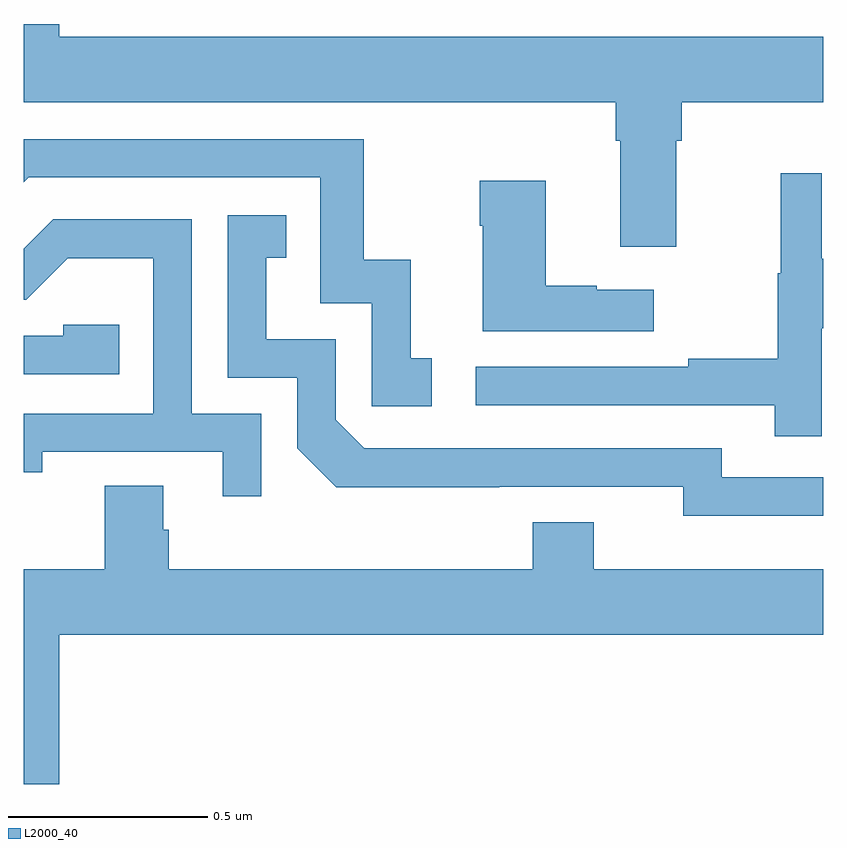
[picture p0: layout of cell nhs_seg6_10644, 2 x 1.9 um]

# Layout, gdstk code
import gdstk
lib = gdstk.Library(unit=1e-6, precision=1e-09)
def P(c, l, *ps):  # polygons
    for p in ps: c.add(gdstk.Polygon(p, *l))
L2000_40 = (2000, 40)

nhs_seg6_10644 = lib.new_cell('nhs_seg6_10644')
P(nhs_seg6_10644, L2000_40, [(250.633,979.208),(250.646,979.208),(250.646,979.304),(251,979.304),(251,979.468),(249.088,979.468),(249.088,979.5),(249,979.5),(249,979.304),(250.481,979.304),(250.481,979.208),(250.493,979.208),(250.493,978.942),(250.633,978.942)],
  [(250.021,978.663),(249.968,978.663),(249.968,978.91),(249.85,978.91),(249.85,979.212),(249,979.212),(249,979.104),(249.012,979.116),(249.741,979.116),(249.741,978.801),(249.87,978.801),(249.87,978.543),(250.021,978.543)],
  [(250.997,978.739),(251,978.739),(251,978.913),(250.997,978.913),(250.997,979.126),(250.894,979.126),(250.894,978.876),(250.887,978.876),(250.887,978.662),(250.663,978.662),(250.663,978.642),(250.131,978.642),(250.131,978.546),(250.879,978.546),(250.879,978.468),(250.997,978.468)],
  [(250.576,978.835),(250.433,978.835),(250.433,978.845),(250.306,978.845),(250.306,979.108),(250.141,979.108),(250.141,978.995),(250.148,978.995),(250.148,978.731),(250.576,978.731)],
  [(251,978.366),(250.746,978.366),(250.746,978.438),(249.852,978.438),(249.78,978.51),(249.78,978.711),(249.607,978.711),(249.607,978.915),(249.656,978.915),(249.656,979.021),(249.51,979.021),(249.51,978.615),(249.684,978.615),(249.684,978.438),(249.782,978.341),(250.19,978.341),(250.19,978.342),(250.65,978.342),(250.65,978.269),(251,978.269)],
  [(249.594,978.525),(249.42,978.525),(249.42,979.011),(249.074,979.011),(249,978.937),(249,978.81),(249.006,978.81),(249.11,978.914),(249.324,978.914),(249.324,978.525),(249,978.525),(249,978.378),(249.046,978.378),(249.046,978.429),(249.497,978.429),(249.497,978.318),(249.594,978.318)],
  [(249.239,978.747),(249.099,978.747),(249.099,978.72),(249,978.72),(249,978.624),(249.239,978.624)],
  [(249.088,977.972),(251,977.972),(251,978.136),(250.426,978.136),(250.426,978.253),(250.274,978.253),(250.274,978.136),(249.362,978.136),(249.362,978.234),(249.349,978.234),(249.349,978.344),(249.202,978.344),(249.202,978.136),(249,978.136),(249,977.598),(249.088,977.598)])

lib.write_gds('nhs_seg6_10644.gds')
